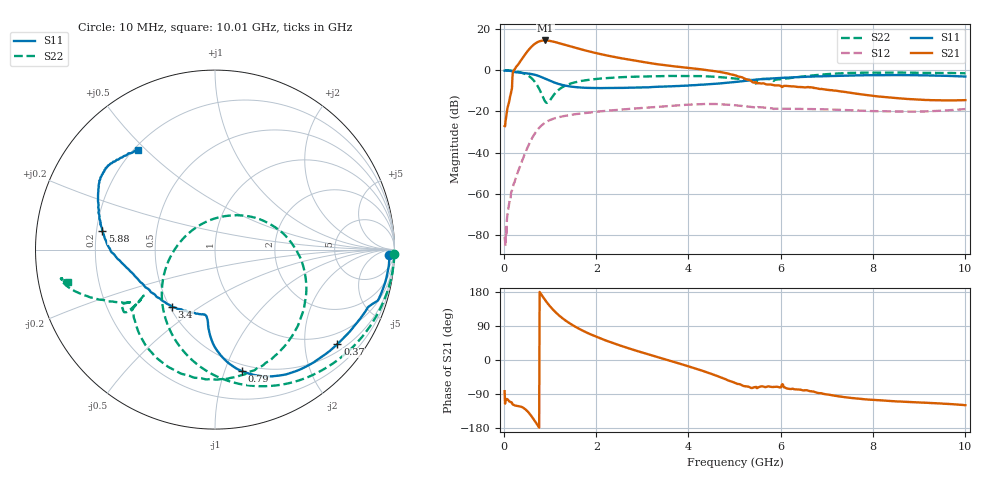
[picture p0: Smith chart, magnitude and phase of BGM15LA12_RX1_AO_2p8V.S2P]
!Agilent Technologies,E5071C,MY46317100,A.11.08
!Date: Fri Dec 19 15:57:12 2014
!Data & Calibration Information:
!Freq	S11:SOLT2(ON)	S21:SOLT2(ON)	S12:SOLT2(ON)	S22:SOLT2(ON)
!PortZ  Port1:50+j0  Port2:50+j0
!Above PortZ is port z conversion or system Z0 setting when saving the data.
!When reading, reference impedance value at option line is always used.
# Hz S RI R 50
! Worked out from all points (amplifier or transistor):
!   1001 points, 10 MHz to 10.01 GHz, reference 50 ohm
!   highest |S21| = 14.4 dB at 890 MHz (marker M1)
!   |S21| within 3 dB of that: 595.5 MHz to 1.455 GHz (859.3 MHz wide, 83.8 % of centre)
!   unconditionally stable (mu >= 1): start of sweep to end of sweep
!   at 1.67 GHz: K = 1.25, MAG = 12.5 dB, |S12| = -21.0 dB
!   at 5.01 GHz: K = 2.47, MAG = 0.5 dB, |S12| = -17.0 dB
!   at 10.01 GHz: K = 4.14, MAG = -6.9 dB, |S12| = -18.9 dB
!   lowest NFmin = 0.90 dB at 650 MHz
!   S11 on the Smith chart (normalised r, x): 10 MHz: 35, -32; 370 MHz: 0.68, -2.78; 790 MHz: 0.44, -1.15; 3.4 GHz: 0.51, -0.39; 5.88 GHz: 0.22, +0.08; 10.01 GHz: 0.22, +0.47
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1e7  0.969 -0.0275  0.00593 -0.0435  5.08e-05 7.22e-05  0.9992 -0.026
1.2e8  0.9406 -0.2047  -0.0693 -0.1914  -0.000592 0.000321  0.9362 -0.2959
2.3e8  0.818 -0.3726  -0.5263 -0.9136  -0.00183 0.000792  0.7872 -0.523
3.7e8  0.6819 -0.5266  -0.9703 -1.472  -0.00538 0.00113  0.4934 -0.72
4.7e8  0.5728 -0.6127  -1.676 -1.924  -0.0103 0.00204  0.2231 -0.7599
5.9e8  0.4199 -0.6878  -3.109 -1.966  -0.0194 0.00721  -0.1031 -0.6363
6.8e8  0.2922 -0.7066  -4.295 -1.282  -0.0259 0.0162  -0.2636 -0.4195
7.9e8  0.1496 -0.6769  -5.092 0.3635  -0.0289 0.0321  -0.2775 -0.1137
8.9e8  0.0592 -0.6178  -4.88 1.959  -0.025 0.0469  -0.149 0.089
1.02e9  -0.00492 -0.5362  -3.77 3.367  -0.0136 0.0616  0.0757 0.1889
1.17e9  -0.0306 -0.4651  -2.291 3.988  0.00231 0.0713  0.2846 0.1538
1.41e9  -0.0394 -0.4035  -0.52 3.81  0.0256 0.0766  0.4582 -0.0128
1.68e9  -0.0459 -0.374  0.6126 3.109  0.0474 0.0755  0.5088 -0.2029
1.95e9  -0.0572 -0.3621  1.182 2.391  0.0655 0.0707  0.4877 -0.3535
2.3e9  -0.0828 -0.3595  1.489 1.608  0.0851 0.0613  0.4168 -0.4999
3.35e9  -0.2317 -0.3208  1.371 0.1599  0.1286 0.0176  0.1388 -0.7024
3.4e9  -0.2391 -0.3181  1.352 0.1161  0.1302 0.015  0.1239 -0.7075
5.01e9  -0.5082 -0.0841  0.3718 -0.6554  0.102 -0.0968  -0.4274 -0.456
5.88e9  -0.6277 0.1048  0.1397 -0.4024  0.0625 -0.0975  -0.5001 -0.2968
6.68e9  -0.6495 0.2538  0.046 -0.3734  0.0429 -0.1051  -0.6927 -0.2665
8.35e9  -0.617 0.4372  -0.0669 -0.207  0.0035 -0.1  -0.8549 -0.1635
1.001e10  -0.4268 0.5527  -0.0912 -0.1631  -0.0194 -0.1118  -0.8206 -0.1827
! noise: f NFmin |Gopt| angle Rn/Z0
6.5e+08  0.9031  0.4404  42.05  0.3199
6.6e+08  0.9237  0.4299  44.67  0.225
7e+08  0.9325  0.4067  50.02  0.2061
8e+08  0.9581  0.4266  57.45  0.1927
8.5e+08  0.9747  0.4256  61.14  0.187
9.5e+08  1.03  0.3992  67.75  0.1871
1e+09  1.043  0.4058  68.86  0.188
1.3e+09  1.139  0.3634  90.5  0.1652
1.4e+09  1.166  0.3564  96.27  0.1593
1.6e+09  1.229  0.3348  106.8  0.1516
